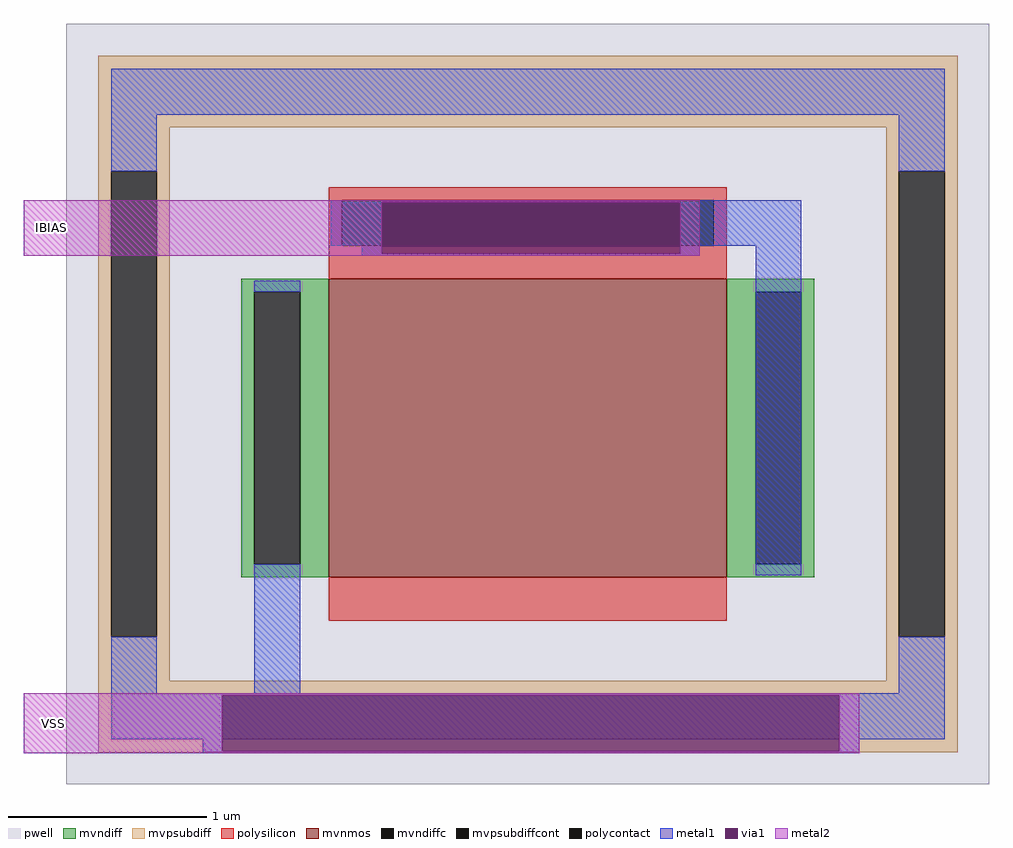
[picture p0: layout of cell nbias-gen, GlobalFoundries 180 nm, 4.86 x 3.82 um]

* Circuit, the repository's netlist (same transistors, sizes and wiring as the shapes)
* NGSPICE file created from nbias-gen.ext - technology: gf180mcuD

.subckt nfet_06v0_7KPYRP a_n200_n218# a_n288_n174# a_200_n174# a_n432_n350#
X0 a_200_n174# a_n200_n218# a_n288_n174# a_n432_n350# nfet_06v0 ad=0.66p pd=3.88u as=0.66p ps=3.88u w=1.5u l=2u
.ends

.subckt nbias-gen IBIAS VSS
XM1 IBIAS VSS IBIAS VSS nfet_06v0_7KPYRP
.ends

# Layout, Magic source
magic
tech gf180mcuD
magscale 1 10
<< metal1 >>
rect 320 -151 422 -149
rect -48 -195 0 -151
rect -20 -203 0 -195
rect 300 -195 422 -151
rect 300 -203 320 -195
rect -20 -205 320 -203
rect -128 -645 -82 -525
rect 376 -526 422 -195
rect -180 -647 480 -645
rect -180 -703 -160 -647
rect 460 -703 480 -647
rect -180 -705 480 -703
<< via1 >>
rect 0 -203 300 -151
rect -160 -703 460 -647
<< metal2 >>
rect -360 -151 320 -149
rect -360 -203 0 -151
rect 300 -203 320 -151
rect -360 -205 320 -203
rect -360 -647 480 -645
rect -360 -703 -160 -647
rect 460 -703 480 -647
rect -360 -705 480 -703
use nfet_06v0_7KPYRP  M1
transform 1 0 147 0 1 -354
box -464 -382 464 382
<< labels >>
flabel metal2 -360 -205 -304 -149 0 FreeSans 320 0 0 0 IBIAS
port 1 nsew
flabel metal2 -360 -705 -300 -645 0 FreeSans 320 0 0 0 VSS
port 3 nsew
<< end >>

# cell nfet_06v0_7KPYRP: kit device nfet_06v0, w 1.5 l 2.0 m 1 nf 1 diffcov 100 polycov 100 guard 1 glc 1 grc 1 gtc 0 gbc 0 tbcov 100 rlcov 100 topc 1 botc 0 poverlap 0 doverlap 1 lmin 0.28 wmin 0.22 class mosfet full_metal 1 compatible {nfet_03v3 nfet_06v0 nfet_06v0_nvt}
